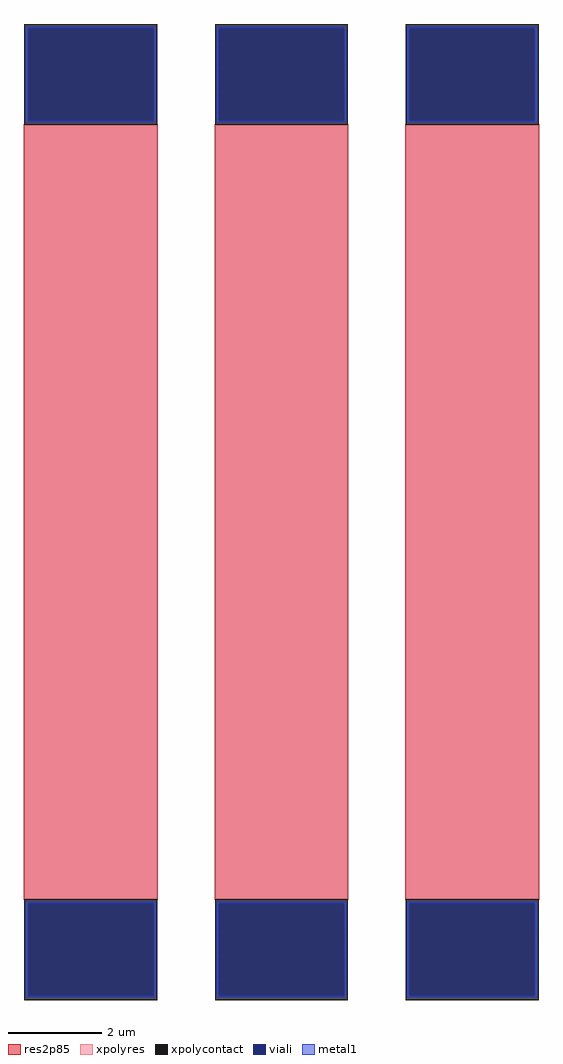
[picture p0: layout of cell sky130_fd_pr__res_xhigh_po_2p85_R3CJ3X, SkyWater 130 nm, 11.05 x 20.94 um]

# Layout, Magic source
magic
tech sky130A
magscale 1 2
<< xpolycontact >>
rect -1103 1662 -533 2094
rect -1103 -2094 -533 -1662
rect -285 1662 285 2094
rect -285 -2094 285 -1662
rect 533 1662 1103 2094
rect 533 -2094 1103 -1662
<< xpolyres >>
rect -1103 -1662 -533 1662
rect -285 -1662 285 1662
rect 533 -1662 1103 1662
<< viali >>
rect -1087 1679 -549 2076
rect -269 1679 269 2076
rect 549 1679 1087 2076
rect -1087 -2076 -549 -1679
rect -269 -2076 269 -1679
rect 549 -2076 1087 -1679
<< metal1 >>
rect -1099 2076 -537 2082
rect -1099 1679 -1087 2076
rect -549 1679 -537 2076
rect -1099 1673 -537 1679
rect -281 2076 281 2082
rect -281 1679 -269 2076
rect 269 1679 281 2076
rect -281 1673 281 1679
rect 537 2076 1099 2082
rect 537 1679 549 2076
rect 1087 1679 1099 2076
rect 537 1673 1099 1679
rect -1099 -1679 -537 -1673
rect -1099 -2076 -1087 -1679
rect -549 -2076 -537 -1679
rect -1099 -2082 -537 -2076
rect -281 -1679 281 -1673
rect -281 -2076 -269 -1679
rect 269 -2076 281 -1679
rect -281 -2082 281 -2076
rect 537 -1679 1099 -1673
rect 537 -2076 549 -1679
rect 1087 -2076 1099 -1679
rect 537 -2082 1099 -2076
<< res2p85 >>
rect -1105 -1664 -531 1664
rect -287 -1664 287 1664
rect 531 -1664 1105 1664
<< properties >>
string gencell sky130_fd_pr__res_xhigh_po_2p85
string parameters w 2.850 l 16.62 m 1 nx 3 wmin 2.850 lmin 0.50 rho 2000 val 11.676k dummy 0 dw 0.0 term 19.188 sterm 0.0 caplen 0 wmax 2.850 guard 0 glc 1 grc 1 gtc 1 gbc 1 compatible {sky130_fd_pr__res_xhigh_po_0p35  sky130_fd_pr__res_xhigh_po_0p69 sky130_fd_pr__res_xhigh_po_1p41  sky130_fd_pr__res_xhigh_po_2p85 sky130_fd_pr__res_xhigh_po_5p73} full_metal 1 n_guard 0 hv_guard 0 vias 1 viagb 0 viagt 0 viagl 0 viagr 0
string library sky130
<< end >>
